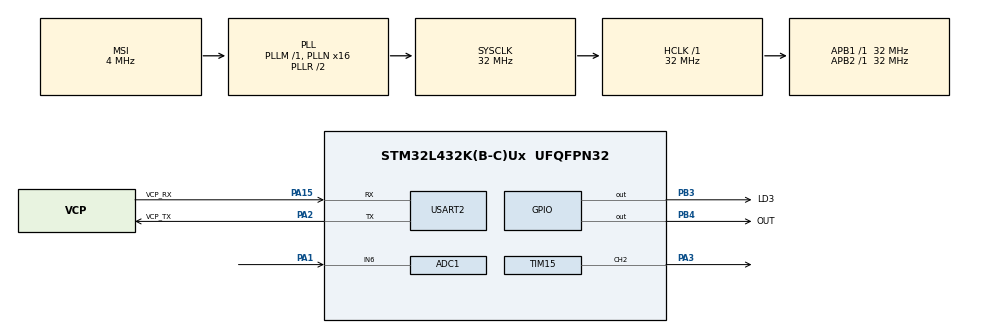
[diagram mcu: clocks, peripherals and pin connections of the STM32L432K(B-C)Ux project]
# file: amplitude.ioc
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ADC1.Channel-0\#ChannelRegularConversion=ADC_CHANNEL_6
ADC1.DMAContinuousRequests=ENABLE
ADC1.ExternalTrigConv=ADC_EXTERNALTRIG_T15_TRGO
ADC1.ExternalTrigConvEdge=ADC_EXTERNALTRIGCONVEDGE_FALLING
ADC1.NbrOfConversionFlag=1
ADC1.OffsetNumber-0\#ChannelRegularConversion=ADC_OFFSET_NONE
ADC1.Rank-0\#ChannelRegularConversion=1
ADC1.SamplingTime-0\#ChannelRegularConversion=ADC_SAMPLETIME_2CYCLES_5
ADC1.master=1
Dma.ADC1.0.Direction=DMA_PERIPH_TO_MEMORY
Dma.ADC1.0.Instance=DMA1_Channel1
Dma.ADC1.0.MemDataAlignment=DMA_MDATAALIGN_HALFWORD
Dma.ADC1.0.MemInc=DMA_MINC_ENABLE
Dma.ADC1.0.Mode=DMA_NORMAL
Dma.ADC1.0.PeriphDataAlignment=DMA_PDATAALIGN_HALFWORD
Dma.ADC1.0.PeriphInc=DMA_PINC_DISABLE
Dma.ADC1.0.Priority=DMA_PRIORITY_HIGH
Dma.Request0=ADC1
Mcu.Family=STM32L4
Mcu.Name=STM32L432K(B-C)Ux
Mcu.Package=UFQFPN32
NVIC.DMA1_Channel1_IRQn=true\:0\:0\:false\:false\:true\:false\:true\:true
NVIC.PriorityGroup=NVIC_PRIORITYGROUP_4
NVIC.RTC_WKUP_IRQn=true\:0\:0\:false\:false\:true\:true\:true\:true
PA0.GPIO_Label=MCO [High speed clock in]
PA0.Mode=HSE-External-Clock-Source-for-LittleOrca
PA0.Signal=RCC_CK_IN
PA1.Signal=ADCx_IN6
PA13\ (JTMS-SWDIO).GPIO_Label=SWDIO
PA13\ (JTMS-SWDIO).Mode=Serial_Wire
PA13\ (JTMS-SWDIO).Signal=SYS_JTMS-SWDIO
PA14\ (JTCK-SWCLK).GPIO_Label=SWCLK
PA14\ (JTCK-SWCLK).Mode=Serial_Wire
PA14\ (JTCK-SWCLK).Signal=SYS_JTCK-SWCLK
PA15\ (JTDI).GPIO_Label=VCP_RX
PA15\ (JTDI).Mode=Asynchronous
PA15\ (JTDI).Signal=USART2_RX
PA2.GPIO_Label=VCP_TX
PA2.Mode=Asynchronous
PA2.Signal=USART2_TX
PA3.Signal=S_TIM15_CH2
PB3\ (JTDO-TRACESWO).GPIO_Label=LD3
PB3\ (JTDO-TRACESWO).Signal=GPIO_Output
PB4\ (NJTRST).GPIO_Label=OUT
PB4\ (NJTRST).Signal=GPIO_Output
PC14-OSC32_IN\ (PC14).Mode=LSE-External-Oscillator
PC14-OSC32_IN\ (PC14).Signal=RCC_OSC32_IN
PC15-OSC32_OUT\ (PC15).Mode=LSE-External-Oscillator
PC15-OSC32_OUT\ (PC15).Signal=RCC_OSC32_OUT
ProjectManager.HeapSize=0x200
ProjectManager.StackSize=0x400
ProjectManager.TargetToolchain=Makefile
RCC.ADCFreq_Value=32000000
RCC.AHBFreq_Value=32000000
RCC.APB1Freq_Value=32000000
RCC.APB1TimFreq_Value=32000000
RCC.APB2Freq_Value=32000000
RCC.APB2TimFreq_Value=32000000
RCC.CortexFreq_Value=32000000
RCC.HCLKFreq_Value=32000000
RCC.HSE_VALUE=8000000
RCC.HSI16_VALUE=16000000
RCC.HSI48_VALUE=48000000
RCC.HSI_VALUE=16000000
RCC.MSI_VALUE=4000000
RCC.PLLMUL=RCC_PLLMUL_4
RCC.PLLN=16
RCC.PLLSAI1N=16
RCC.SYSCLKFreq_VALUE=32000000
RCC.SYSCLKSource=RCC_SYSCLKSOURCE_PLLCLK
RCC.USBFreq_Value=32000000
RCC.VCOOutputFreq_Value=64000000
RTC.WakeUpCounter=2047
SH.ADCx_IN6.0=ADC1_IN6,IN6-Single-Ended
SH.S_TIM15_CH2.0=TIM15_CH2,PWM Generation2 CH2
TIM15.Channel-PWM\ Generation2\ CH2=TIM_CHANNEL_2
TIM15.Period=4000
TIM15.Pulse-PWM\ Generation2\ CH2=320
TIM15.TIM_MasterOutputTrigger=TIM_TRGO_OC2REF
USART2.VirtualMode-Asynchronous=VM_ASYNC
VP_RTC_VS_RTC_Activate.Mode=RTC_Enabled
VP_RTC_VS_RTC_WakeUp_intern.Mode=WakeUp
board=NUCLEO-L432KC

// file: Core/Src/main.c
/* USER CODE BEGIN Header */
/**
 ******************************************************************************
 * @file           : main.c
 * @brief          : Main program body
 ******************************************************************************
 * @attention
 *
 * Copyright (c) 2026 STMicroelectronics.
 * All rights reserved.
 *
 * This software is licensed under terms that can be found in the LICENSE file
 * in the root directory of this software component.
 * If no LICENSE file comes with this software, it is provided AS-IS.
 *
 ******************************************************************************
 */
/* USER CODE END Header */
#include "main.h"

/* USER CODE BEGIN Includes */
#include <stdio.h>
#include <string.h>
/* USER CODE END Includes */

/* USER CODE BEGIN PD */
#define THRESHOLD 10
#define HOLD_TIME_MS 5000
#define REQUIRED_HITS 16
#define ADC_BUFFER_SIZE 2048
#define RTC_WAKEUP_INTERVAL 1000 // in ms
#define RTC_CLOCK_FREQUENCY (32768 / 16)
#define WUT (((RTC_WAKEUP_INTERVAL / 1000) * RTC_CLOCK_FREQUENCY) - 1)
/* USER CODE END PD */

ADC_HandleTypeDef hadc1;
DMA_HandleTypeDef hdma_adc1;

RTC_HandleTypeDef hrtc;

TIM_HandleTypeDef htim15;

UART_HandleTypeDef huart2;

/* USER CODE BEGIN PV */

volatile uint16_t adc_buffer[ADC_BUFFER_SIZE];

volatile uint8_t rtc_wakeup = 0;
volatile uint8_t dma_ready = 0;

volatile uint8_t signal_detected = 0;
volatile uint32_t last_trigger_time = 0;
uint8_t hit_counter = 0;
uint32_t rtc_ms = 0;

// CPU MESSUNG
char msg[256];

#define CPU_MEASURE_BLOCKS 10

volatile uint32_t average_processing_cycles;
volatile uint64_t total_processing_cycles = 0;
volatile uint32_t measured_blocks = 0;

volatile uint32_t min_processing_cycles = UINT32_MAX;
volatile uint32_t max_processing_cycles = 0;

volatile uint32_t average_processing_time_us = 0;
volatile uint32_t min_processing_time_us = 0;
volatile uint32_t max_processing_time_us = 0;

volatile uint32_t average_cpu_load_x100 = 0;
volatile uint32_t min_cpu_load_x100 = 0;
volatile uint32_t max_cpu_load_x100 = 0;

volatile uint32_t total_block_time_us = 0;
volatile uint32_t block_time_us = 0;
volatile uint32_t avg_block_time = 0;
/* USER CODE END PV */

void SystemClock_Config(void);
static void MX_GPIO_Init(void);
static void MX_DMA_Init(void);
static void MX_ADC1_Init(void);
static void MX_TIM15_Init(void);
static void MX_RTC_Init(void);
static void MX_USART2_UART_Init(void);

/* USER CODE BEGIN 0 */
static void DWT_Init(void)
{
  CoreDebug->DEMCR |= CoreDebug_DEMCR_TRCENA_Msk;

  DWT->CYCCNT = 0;

  DWT->CTRL |= DWT_CTRL_CYCCNTENA_Msk;
}

void HAL_RTCEx_WakeUpTimerEventCallback(RTC_HandleTypeDef *hrtc)
{
  rtc_wakeup = 1;
}

void HAL_ADC_ConvCpltCallback(ADC_HandleTypeDef *hadc)
{
  dma_ready = 1;
}

void ProcessAudioBlock(uint16_t *buffer, uint16_t length)
{
  const uint16_t blocks = REQUIRED_HITS * 2;
  const uint16_t block_size = length / blocks;

  for (uint16_t i = 0; i < blocks; i++)
  {
    // Minimum und Maximum des Blocks bestimmen
    uint16_t min_val = 4095;
    uint16_t max_val = 0;

    for (uint16_t j = i * block_size; j < (i + 1) * block_size; j++)
    {
      uint16_t sample = buffer[j];

      if (sample > max_val)
        max_val = sample;

      if (sample < min_val)
        min_val = sample;
    }

    // Amplitude
    uint16_t amplitude = (max_val - min_val) / 2;

    // Schwellwertüberschreitung
    if (amplitude > THRESHOLD)
    {
      last_trigger_time = rtc_ms;
      if (hit_counter < REQUIRED_HITS)
      {
        hit_counter++;
      }
    }
    else
    {
      hit_counter = 0;
    }

    // Signal erkannt
    if (!signal_detected && hit_counter >= REQUIRED_HITS)
    {
      signal_detected = 1;
      HAL_GPIO_WritePin(OUT_GPIO_Port, OUT_Pin, GPIO_PIN_SET);
    }

    // Wenn 5s kein Signal -> OFF
    if (signal_detected && (rtc_ms - last_trigger_time > HOLD_TIME_MS))
    {
      signal_detected = 0;
      HAL_GPIO_WritePin(OUT_GPIO_Port, OUT_Pin, GPIO_PIN_RESET);
    }
  }
}
/* USER CODE END 0 */

int main(void)
{

  /* MCU Configuration--------------------------------------------------------*/

  /* Reset of all peripherals, Initializes the Flash interface and the Systick. */
  HAL_Init();

  /* Configure the system clock */
  SystemClock_Config();

  /* Initialize all configured peripherals */
  MX_GPIO_Init();
  MX_DMA_Init();
  MX_ADC1_Init();
  MX_TIM15_Init();
  MX_RTC_Init();
  MX_USART2_UART_Init();
  /* USER CODE BEGIN 2 */
  HAL_RTCEx_SetWakeUpTimer_IT(&hrtc, WUT, RTC_WAKEUPCLOCK_RTCCLK_DIV16);
  DWT_Init();

  int str = snprintf(
      msg,
      sizeof(msg),
      "blocks;avg_cycles;min_cycles;max_cycles;"
      "avg_us;min_us;max_us;"
      "avg_load;min_load;max_load;avg_block_time\r\n");

  HAL_UART_Transmit(
      &huart2,
      (uint8_t *)msg,
      str,
      HAL_MAX_DELAY);

  /* USER CODE END 2 */

  /* Infinite loop */
  /* USER CODE BEGIN WHILE */
  while (1)
  {
    if (rtc_wakeup)
    {
      rtc_ms += RTC_WAKEUP_INTERVAL;
      HAL_TIM_PWM_Start(&htim15, TIM_CHANNEL_2);
      HAL_ADC_Start_DMA(&hadc1, (uint32_t *)adc_buffer, ADC_BUFFER_SIZE);
      rtc_wakeup = 0;
    }

    if (dma_ready)
    {
      HAL_ADC_Stop_DMA(&hadc1);
      HAL_TIM_PWM_Stop(&htim15, TIM_CHANNEL_2);
      dma_ready = 0;
      uint32_t start = DWT->CYCCNT;
      ProcessAudioBlock((uint16_t *)adc_buffer, ADC_BUFFER_SIZE);
      uint32_t cycles = DWT->CYCCNT - start;
      block_time_us = HAL_GetTick() - block_time_us;
      // Messwerte sammeln

      total_processing_cycles += cycles;
      measured_blocks++;
      total_block_time_us += block_time_us;
      // Minimum
      if (cycles < min_processing_cycles)
      {
        min_processing_cycles = cycles;
      }

      // Maximum
      if (cycles > max_processing_cycles)
      {
        max_processing_cycles = cycles;
      }

      // Mittelwerte berechnen

      if (measured_blocks >= CPU_MEASURE_BLOCKS)
      {
        /* Durchschnittliche CPU-Zyklen */
        average_processing_cycles = total_processing_cycles / measured_blocks;

        avg_block_time = total_block_time_us / measured_blocks;

        // Zyklen -> Zeit in Mikrosekunden

        average_processing_time_us =
            (uint32_t)(((uint64_t)average_processing_cycles * 1000000ULL) / SystemCoreClock);

        min_processing_time_us =
            (uint32_t)(((uint64_t)min_processing_cycles * 1000000ULL) / SystemCoreClock);

        max_processing_time_us =
            (uint32_t)(((uint64_t)max_processing_cycles * 1000000ULL) / SystemCoreClock);

        // CPU-Auslastung

        average_cpu_load_x100 =
            (uint32_t)(((uint64_t)average_processing_time_us * 10000ULL) / (avg_block_time * 1000UL));

        min_cpu_load_x100 =
            (uint32_t)(((uint64_t)min_processing_time_us * 10000ULL) / (avg_block_time * 1000UL));

        max_cpu_load_x100 =
            (uint32_t)(((uint64_t)max_processing_time_us * 10000ULL) / (avg_block_time * 1000UL));

        int len = snprintf(
            msg,
            sizeof(msg),
            "%lu;"
            "%lu;"
            "%lu;"
            "%lu;"
            "%lu;"
            "%lu;"
            "%lu;"
            "%lu,%02lu%%;"
            "%lu,%02lu%%;"
            "%lu,%02lu%%;"
            "%lu\r\n",

            (unsigned long)CPU_MEASURE_BLOCKS,

            (unsigned long)average_processing_cycles,
            (unsigned long)min_processing_cycles,
            (unsigned long)max_processing_cycles,

            (unsigned long)average_processing_time_us,
            (unsigned long)min_processing_time_us,
            (unsigned long)max_processing_time_us,

            (unsigned long)(average_cpu_load_x100 / 100),
            (unsigned long)(average_cpu_load_x100 % 100),

            (unsigned long)(min_cpu_load_x100 / 100),
            (unsigned long)(min_cpu_load_x100 % 100),

            (unsigned long)(max_cpu_load_x100 / 100),
            (unsigned long)(max_cpu_load_x100 % 100),

            (unsigned long)(avg_block_time));

        HAL_UART_Transmit(
            &huart2,
            (uint8_t *)msg,
            len,
            HAL_MAX_DELAY);

        // Messwerte zurücksetzen
        total_block_time_us = 0;
        total_processing_cycles = 0;
        measured_blocks = 0;

        min_processing_cycles = UINT32_MAX;
        max_processing_cycles = 0;
        total_block_time_us = 0;
      }
    }
    // Energieoptimierung
    HAL_SuspendTick();
    HAL_PWR_EnterSLEEPMode(PWR_LOWPOWERREGULATOR_ON, PWR_SLEEPENTRY_WFI);
    HAL_ResumeTick();
    /* USER CODE END WHILE */

  }
}

void SystemClock_Config(void)
{
  RCC_OscInitTypeDef RCC_OscInitStruct = {0};
  RCC_ClkInitTypeDef RCC_ClkInitStruct = {0};

  /** Configure the main internal regulator output voltage
   */
  if (HAL_PWREx_ControlVoltageScaling(PWR_REGULATOR_VOLTAGE_SCALE1) != HAL_OK)
  {
    Error_Handler();
  }

  /** Configure LSE Drive Capability
   */
  HAL_PWR_EnableBkUpAccess();
  __HAL_RCC_LSEDRIVE_CONFIG(RCC_LSEDRIVE_LOW);

  /** Initializes the RCC Oscillators according to the specified parameters
   * in the RCC_OscInitTypeDef structure.
   */
  RCC_OscInitStruct.OscillatorType = RCC_OSCILLATORTYPE_LSI | RCC_OSCILLATORTYPE_LSE | RCC_OSCILLATORTYPE_MSI;
  RCC_OscInitStruct.LSEState = RCC_LSE_ON;
  RCC_OscInitStruct.LSIState = RCC_LSI_ON;
  RCC_OscInitStruct.MSIState = RCC_MSI_ON;
  RCC_OscInitStruct.MSICalibrationValue = 0;
  RCC_OscInitStruct.MSIClockRange = RCC_MSIRANGE_6;
  RCC_OscInitStruct.PLL.PLLState = RCC_PLL_ON;
  RCC_OscInitStruct.PLL.PLLSource = RCC_PLLSOURCE_MSI;
  RCC_OscInitStruct.PLL.PLLM = 1;
  RCC_OscInitStruct.PLL.PLLN = 16;
  RCC_OscInitStruct.PLL.PLLP = RCC_PLLP_DIV7;
  RCC_OscInitStruct.PLL.PLLQ = RCC_PLLQ_DIV2;
  RCC_OscInitStruct.PLL.PLLR = RCC_PLLR_DIV2;
  if (HAL_RCC_OscConfig(&RCC_OscInitStruct) != HAL_OK)
  {
    Error_Handler();
  }

  /** Initializes the CPU, AHB and APB buses clocks
   */
  RCC_ClkInitStruct.ClockType = RCC_CLOCKTYPE_HCLK | RCC_CLOCKTYPE_SYSCLK | RCC_CLOCKTYPE_PCLK1 | RCC_CLOCKTYPE_PCLK2;
  RCC_ClkInitStruct.SYSCLKSource = RCC_SYSCLKSOURCE_PLLCLK;
  RCC_ClkInitStruct.AHBCLKDivider = RCC_SYSCLK_DIV1;
  RCC_ClkInitStruct.APB1CLKDivider = RCC_HCLK_DIV1;
  RCC_ClkInitStruct.APB2CLKDivider = RCC_HCLK_DIV1;

  if (HAL_RCC_ClockConfig(&RCC_ClkInitStruct, FLASH_LATENCY_1) != HAL_OK)
  {
    Error_Handler();
  }

  /** Enable MSI Auto calibration
   */
  HAL_RCCEx_EnableMSIPLLMode();
}

static void MX_ADC1_Init(void)
{

  ADC_ChannelConfTypeDef sConfig = {0};

  /** Common config
   */
  hadc1.Instance = ADC1;
  hadc1.Init.ClockPrescaler = ADC_CLOCK_ASYNC_DIV1;
  hadc1.Init.Resolution = ADC_RESOLUTION_12B;
  hadc1.Init.DataAlign = ADC_DATAALIGN_RIGHT;
  hadc1.Init.ScanConvMode = ADC_SCAN_DISABLE;
  hadc1.Init.EOCSelection = ADC_EOC_SINGLE_CONV;
  hadc1.Init.LowPowerAutoWait = DISABLE;
  hadc1.Init.ContinuousConvMode = DISABLE;
  hadc1.Init.NbrOfConversion = 1;
  hadc1.Init.DiscontinuousConvMode = DISABLE;
  hadc1.Init.ExternalTrigConv = ADC_EXTERNALTRIG_T15_TRGO;
  hadc1.Init.ExternalTrigConvEdge = ADC_EXTERNALTRIGCONVEDGE_FALLING;
  hadc1.Init.DMAContinuousRequests = ENABLE;
  hadc1.Init.Overrun = ADC_OVR_DATA_PRESERVED;
  hadc1.Init.OversamplingMode = DISABLE;
  if (HAL_ADC_Init(&hadc1) != HAL_OK)
  {
    Error_Handler();
  }

  /** Configure Regular Channel
   */
  sConfig.Channel = ADC_CHANNEL_6;
  sConfig.Rank = ADC_REGULAR_RANK_1;
  sConfig.SamplingTime = ADC_SAMPLETIME_2CYCLES_5;
  sConfig.SingleDiff = ADC_SINGLE_ENDED;
  sConfig.OffsetNumber = ADC_OFFSET_NONE;
  sConfig.Offset = 0;
  if (HAL_ADC_ConfigChannel(&hadc1, &sConfig) != HAL_OK)
  {
    Error_Handler();
  }
}

static void MX_RTC_Init(void)
{

  /** Initialize RTC Only
   */
  hrtc.Instance = RTC;
  hrtc.Init.HourFormat = RTC_HOURFORMAT_24;
  hrtc.Init.AsynchPrediv = 127;
  hrtc.Init.SynchPrediv = 255;
  hrtc.Init.OutPut = RTC_OUTPUT_DISABLE;
  hrtc.Init.OutPutRemap = RTC_OUTPUT_REMAP_NONE;
  hrtc.Init.OutPutPolarity = RTC_OUTPUT_POLARITY_HIGH;
  hrtc.Init.OutPutType = RTC_OUTPUT_TYPE_OPENDRAIN;
  if (HAL_RTC_Init(&hrtc) != HAL_OK)
  {
    Error_Handler();
  }
}

static void MX_TIM15_Init(void)
{

  TIM_MasterConfigTypeDef sMasterConfig = {0};
  TIM_OC_InitTypeDef sConfigOC = {0};
  TIM_BreakDeadTimeConfigTypeDef sBreakDeadTimeConfig = {0};

  htim15.Instance = TIM15;
  htim15.Init.Prescaler = 0;
  htim15.Init.CounterMode = TIM_COUNTERMODE_UP;
  htim15.Init.Period = 4000;
  htim15.Init.ClockDivision = TIM_CLOCKDIVISION_DIV1;
  htim15.Init.RepetitionCounter = 0;
  htim15.Init.AutoReloadPreload = TIM_AUTORELOAD_PRELOAD_DISABLE;
  if (HAL_TIM_PWM_Init(&htim15) != HAL_OK)
  {
    Error_Handler();
  }
  sMasterConfig.MasterOutputTrigger = TIM_TRGO_OC2REF;
  sMasterConfig.MasterSlaveMode = TIM_MASTERSLAVEMODE_DISABLE;
  if (HAL_TIMEx_MasterConfigSynchronization(&htim15, &sMasterConfig) != HAL_OK)
  {
    Error_Handler();
  }
  sConfigOC.OCMode = TIM_OCMODE_PWM1;
  sConfigOC.Pulse = 320;
  sConfigOC.OCPolarity = TIM_OCPOLARITY_HIGH;
  sConfigOC.OCNPolarity = TIM_OCNPOLARITY_HIGH;
  sConfigOC.OCFastMode = TIM_OCFAST_DISABLE;
  sConfigOC.OCIdleState = TIM_OCIDLESTATE_RESET;
  sConfigOC.OCNIdleState = TIM_OCNIDLESTATE_RESET;
  if (HAL_TIM_PWM_ConfigChannel(&htim15, &sConfigOC, TIM_CHANNEL_2) != HAL_OK)
  {
    Error_Handler();
  }
  sBreakDeadTimeConfig.OffStateRunMode = TIM_OSSR_DISABLE;
  sBreakDeadTimeConfig.OffStateIDLEMode = TIM_OSSI_DISABLE;
  sBreakDeadTimeConfig.LockLevel = TIM_LOCKLEVEL_OFF;
  sBreakDeadTimeConfig.DeadTime = 0;
  sBreakDeadTimeConfig.BreakState = TIM_BREAK_DISABLE;
  sBreakDeadTimeConfig.BreakPolarity = TIM_BREAKPOLARITY_HIGH;
  sBreakDeadTimeConfig.AutomaticOutput = TIM_AUTOMATICOUTPUT_DISABLE;
  if (HAL_TIMEx_ConfigBreakDeadTime(&htim15, &sBreakDeadTimeConfig) != HAL_OK)
  {
    Error_Handler();
  }
  HAL_TIM_MspPostInit(&htim15);
}

static void MX_USART2_UART_Init(void)
{

  huart2.Instance = USART2;
  huart2.Init.BaudRate = 115200;
  huart2.Init.WordLength = UART_WORDLENGTH_8B;
  huart2.Init.StopBits = UART_STOPBITS_1;
  huart2.Init.Parity = UART_PARITY_NONE;
  huart2.Init.Mode = UART_MODE_TX_RX;
  huart2.Init.HwFlowCtl = UART_HWCONTROL_NONE;
  huart2.Init.OverSampling = UART_OVERSAMPLING_16;
  huart2.Init.OneBitSampling = UART_ONE_BIT_SAMPLE_DISABLE;
  huart2.AdvancedInit.AdvFeatureInit = UART_ADVFEATURE_NO_INIT;
  if (HAL_UART_Init(&huart2) != HAL_OK)
  {
    Error_Handler();
  }
}

static void MX_DMA_Init(void)
{

  /* DMA controller clock enable */
  __HAL_RCC_DMA1_CLK_ENABLE();

  /* DMA interrupt init */
  /* DMA1_Channel1_IRQn interrupt configuration */
  HAL_NVIC_SetPriority(DMA1_Channel1_IRQn, 0, 0);
  HAL_NVIC_EnableIRQ(DMA1_Channel1_IRQn);
}

static void MX_GPIO_Init(void)
{
  GPIO_InitTypeDef GPIO_InitStruct = {0};

  /* GPIO Ports Clock Enable */
  __HAL_RCC_GPIOC_CLK_ENABLE();
  __HAL_RCC_GPIOA_CLK_ENABLE();
  __HAL_RCC_GPIOB_CLK_ENABLE();

  /*Configure GPIO pin Output Level */
  HAL_GPIO_WritePin(GPIOB, LD3_Pin | OUT_Pin, GPIO_PIN_RESET);

  /*Configure GPIO pins : LD3_Pin OUT_Pin */
  GPIO_InitStruct.Pin = LD3_Pin | OUT_Pin;
  GPIO_InitStruct.Mode = GPIO_MODE_OUTPUT_PP;
  GPIO_InitStruct.Pull = GPIO_NOPULL;
  GPIO_InitStruct.Speed = GPIO_SPEED_FREQ_LOW;
  HAL_GPIO_Init(GPIOB, &GPIO_InitStruct);

}

void Error_Handler(void)
{
  __disable_irq();
  while (1)
  {
  }
}
